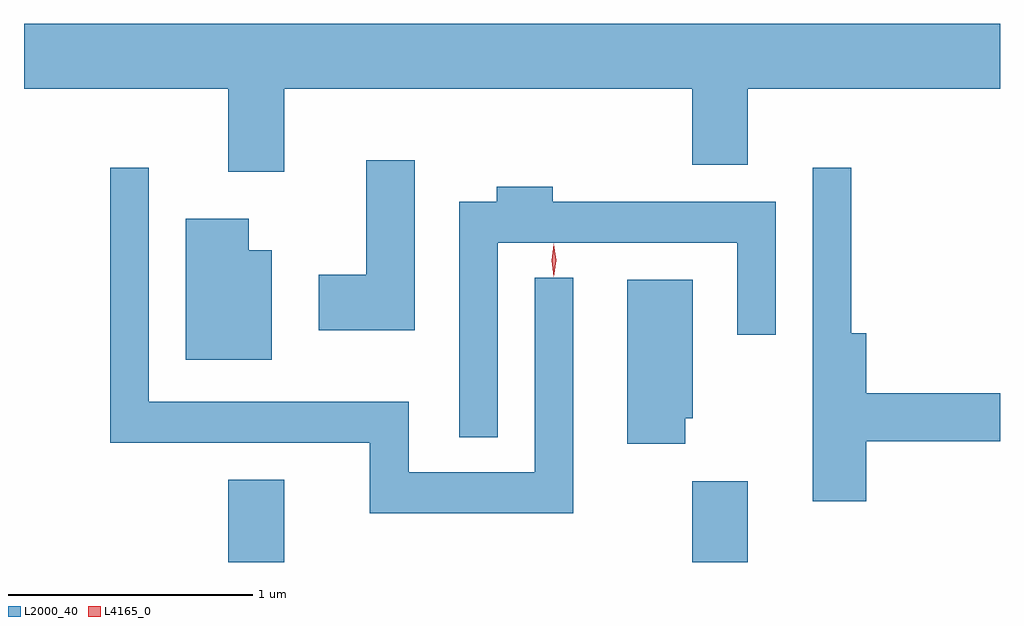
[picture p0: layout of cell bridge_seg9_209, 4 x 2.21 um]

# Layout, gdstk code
import gdstk
lib = gdstk.Library(unit=1e-6, precision=1e-09)
def R(c, l, rs):  # rectangles x0, y0, x1, y1
    for r in rs: c.add(gdstk.rectangle(r[:2], r[2:], *l))
def P(c, l, *ps):  # polygons
    for p in ps: c.add(gdstk.Polygon(p, *l))
L2000_40 = (2000, 40)
L4165_0 = (4165, 0)

bridge_seg9_209 = lib.new_cell('bridge_seg9_209')
R(bridge_seg9_209, L2000_40, [(1482.721,1980.995,1482.949,1981.334), (1484.621,1980.995,1484.849,1981.329)])
P(bridge_seg9_209, L2000_40, [(1482.949,1982.936),(1484.621,1982.936),(1484.621,1982.626),(1484.849,1982.626),(1484.849,1982.936),(1485.883,1982.936),(1485.883,1983.204),(1481.883,1983.204),(1481.883,1982.936),(1482.721,1982.936),(1482.721,1982.596),(1482.949,1982.596)],
  [(1483.484,1982.644),(1483.286,1982.644),(1483.286,1982.174),(1483.091,1982.174),(1483.091,1981.946),(1483.484,1981.946)],
  [(1484.134,1982.163),(1483.976,1982.163),(1483.976,1981.364),(1483.459,1981.364),(1483.459,1981.654),(1482.394,1981.654),(1482.394,1982.613),(1482.236,1982.613),(1482.236,1981.486),(1483.301,1981.486),(1483.301,1981.196),(1484.134,1981.196)],
  [(1485.334,1981.491),(1485.883,1981.491),(1485.883,1981.689),(1485.334,1981.689),(1485.334,1981.934),(1485.274,1981.934),(1485.274,1982.613),(1485.116,1982.613),(1485.116,1981.246),(1485.334,1981.246)],
  [(1483.824,1982.306),(1484.806,1982.306),(1484.806,1981.928),(1484.964,1981.928),(1484.964,1982.474),(1484.049,1982.474),(1484.049,1982.534),(1483.821,1982.534),(1483.821,1982.474),(1483.666,1982.474),(1483.666,1981.508),(1483.824,1981.508)],
  [(1482.899,1982.274),(1482.804,1982.274),(1482.804,1982.404),(1482.546,1982.404),(1482.546,1981.826),(1482.899,1981.826)],
  [(1484.594,1981.586),(1484.624,1981.586),(1484.624,1982.154),(1484.356,1982.154),(1484.356,1981.481),(1484.594,1981.481)])
P(bridge_seg9_209, L4165_0, [(1484.054,1982.167),(1484.045,1982.234),(1484.054,1982.3),(1484.055,1982.301),(1484.055,1982.3),(1484.065,1982.234),(1484.055,1982.167),(1484.055,1982.167)])

lib.write_gds('bridge_seg9_209.gds')
